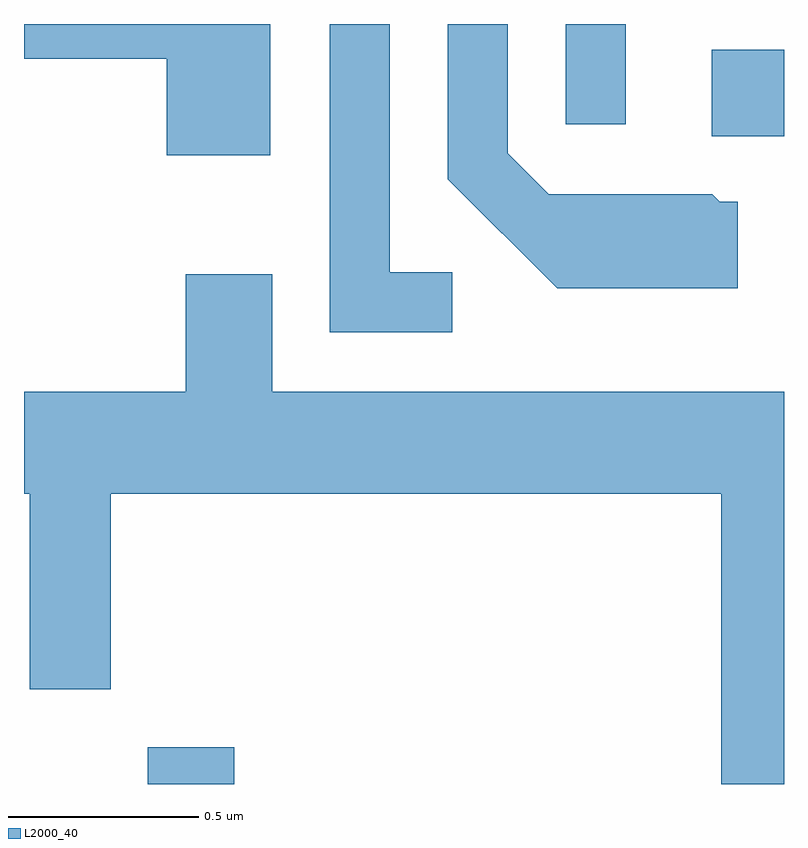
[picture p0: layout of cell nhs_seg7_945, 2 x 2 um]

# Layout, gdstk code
import gdstk
lib = gdstk.Library(unit=1e-6, precision=1e-09)
def R(c, l, rs):  # rectangles x0, y0, x1, y1
    for r in rs: c.add(gdstk.rectangle(r[:2], r[2:], *l))
def P(c, l, *ps):  # polygons
    for p in ps: c.add(gdstk.Polygon(p, *l))
L2000_40 = (2000, 40)

nhs_seg7_945 = lib.new_cell('nhs_seg7_945')
R(nhs_seg7_945, L2000_40, [(191.936,1791.252,192.164,1791.349), (193.421,1792.956,193.611,1793.184), (193.036,1792.988,193.194,1793.252)])
P(nhs_seg7_945, L2000_40, [(192.259,1793.252),(191.611,1793.252),(191.611,1793.161),(191.986,1793.161),(191.986,1792.906),(192.259,1792.906)],
  [(192.738,1792.599),(192.574,1792.599),(192.574,1793.252),(192.416,1793.252),(192.416,1792.441),(192.738,1792.441)],
  [(193.489,1792.784),(193.442,1792.784),(193.422,1792.804),(192.992,1792.804),(192.884,1792.912),(192.884,1793.252),(192.726,1793.252),(192.726,1792.844),(193.014,1792.556),(193.489,1792.556)],
  [(193.611,1792.284),(192.264,1792.284),(192.264,1792.594),(192.036,1792.594),(192.036,1792.284),(191.611,1792.284),(191.611,1792.016),(191.626,1792.016),(191.626,1791.501),(191.839,1791.501),(191.839,1792.016),(193.446,1792.016),(193.446,1791.252),(193.611,1791.252)])

lib.write_gds('nhs_seg7_945.gds')
